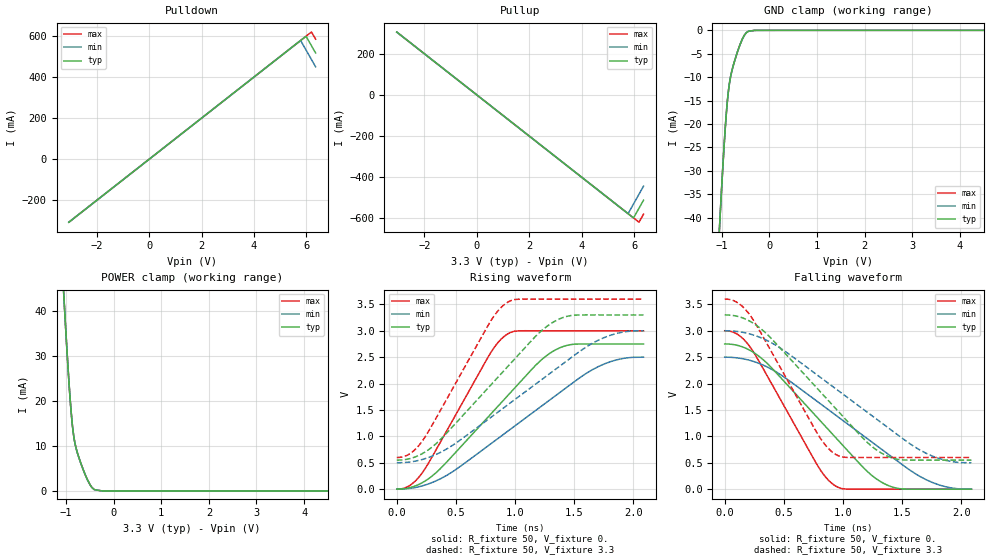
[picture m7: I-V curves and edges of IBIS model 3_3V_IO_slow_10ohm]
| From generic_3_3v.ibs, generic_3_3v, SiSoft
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[Model] 3_3V_IO_slow_10ohm
|SiSoft Include 3_3v.inc
Model_type I/O
|SiSoft Include 3_3v.inc
|C_comp_off 3.002p 2.502p 3.502p
|C_comp_on 3.002p 2.502p 3.502p
C_comp 3.002p 2.502p 3.502p
|SiSoft Rth_i 358.696K 375.001K 346.155K
|SiSoft Rth_r 10. 10. 10.
|SiSoft Rth_f 10. 10. 10.
Vinh = 2
Vinl = 0.8
Cref = 0
Vref = 1.65
Rref = 50
Vmeas = 1.65
|SiSoft spice_param TT Voh 3.3
|SiSoft spice_param SS Voh 3
|SiSoft spice_param FF Voh 3.6
|SiSoft spice_param ALL Vol 0
|SiSoft spice_param ALL R_SERIES 10
|SiSoft spice_param ALL RTERM_IN 1MEG
|SiSoft spice_param TT C_COMP 3pF
|SiSoft spice_param SS C_COMP 3.5pF
|SiSoft spice_param FF C_COMP 2.5pF
|SiSoft spice all testbed.mod tech_io_33
|SiSoft stimulus_rise_time 1.5n 2.0n 1.0n
[Temperature_Range] 25 100 0
[Voltage Range] 3.3 3. 3.6
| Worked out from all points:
|   slope of the pulldown table from 0 to 0.495 V, typ, clamps not added: 10 ohm
|   slope of the pullup table from 0 to 0.495 V, typ, clamps not added: 10 ohm
|   GND clamp passes 1 mA (typ) near -0.52 V on its own axis
|   POWER clamp passes 1 mA (typ) near -0.47 V on its own axis
|   rising waveform, R_fixture 50, V_fixture 0.: 20-80 % time 676ps typ, 901ps min, 451ps max; typ from 0 V to 2.75 V
|   rising waveform, R_fixture 50, V_fixture 3.3: 20-80 % time 676ps typ, 901ps min, 451ps max; typ from 0.55 V to 3.3 V
|   falling waveform, R_fixture 50, V_fixture 0.: 20-80 % time 676ps typ, 901ps min, 451ps max; typ from 2.75 V to 0 V
|   falling waveform, R_fixture 50, V_fixture 3.3: 20-80 % time 676ps typ, 901ps min, 451ps max; typ from 3.3 V to 0.55 V
[Pulldown]
-3.059V   -305.9mA   -305.9mA   -305.9mA
5.771V    577.1mA    577.1mA    577.1mA
5.99V     597.8mA    531mA      599mA
6.189V    553.5mA    486.3mA    618.8mA
6.351V    517.3mA    450mA      584.4mA
[Pullup]
-3.051V   305.1mA    305.1mA    305.1mA
5.76V     -576mA     -576mA     -576mA
5.779V    -577.9mA   -575.4mA   -577.9mA
5.979V    -597.3mA   -530.1mA   -597.9mA
6.188V    -550.6mA   -482.5mA   -618.6mA
6.359V    -511.8mA   -443.6mA   -579.8mA
[GND Clamp]
-3.059V   -488.2mA   -488.2mA   -488.2mA
-1.052V   -42.53mA   -42.53mA   -42.53mA
-1.045V   -41.14mA   -41.14mA   -41.15mA
-980.7mV  -29.29mA   -29.29mA   -29.29mA
-923.7mV  -20.11mA   -20.1mA    -20.1mA
-881mV    -14.75mA   -14.74mA   -14.74mA
-838.3mV  -11.14mA   -11.15mA   -11.15mA
-767.1mV  -7.767mA   -7.767mA   -7.766mA
-624.7mV  -3.221mA   -3.221mA   -3.221mA
-532.2mV  -1.132mA   -1.125mA   -1.128mA
-439.6mV  -186uA     -180.5uA   -189.5uA
6.351V    0A         0A         0A
[Power Clamp]
-3.059V   484.6mA    484.6mA    484.6mA
-1.047V   43.59mA    43.59mA    43.6mA
-1.036V   41.46mA    41.46mA    41.46mA
-969.1mV  29.24mA    29.24mA    29.25mA
-924.6mV  22.01mA    22mA       22mA
-880.1mV  16.07mA    16.07mA    16.06mA
-835.6mV  12mA       12.01mA    12.01mA
-768.9mV  8.733mA    8.733mA    8.735mA
-635.5mV  4.626mA    4.624mA    4.626mA
-491mV    1.293mA    1.287mA    1.296mA
-402mV    284.4uA    276.1uA    278.9uA
6.359V    0A         0A         0A
[Ramp]
dV/dt_r 1.65/675.577p 1.5/900.823p 1.8/450.608p
dV/dt_f 1.65/675.568p 1.5/900.819p 1.8/450.587p
[Rising Waveform]
R_fixture = 50
V_fixture = 0.
0s        16.68uV    16.68uV    16.68uV
120ps     33.63mV    18.09mV    85.29mV
220ps     129mV      65.15mV    324.1mV
430ps     533.3mV    272.1mV    1.137V
800ps     1.436V     868mV      2.607V
940ps     1.778V     1.101V     2.944V
1.2ns     2.404V     1.535V     3V
1.38ns    2.679V     1.835V     3V
1.76ns    2.75V      2.378V     3V
2.085ns   2.75V      2.499V     3V
[Rising Waveform]
R_fixture = 50
V_fixture = 3.3
V_fixture_min = 3.
V_fixture_max = 3.6
0s        550mV      500mV      600mV
120ps     583.6mV    518.1mV    685.3mV
220ps     679mV      565.1mV    924.1mV
430ps     1.083V     772mV      1.737V
800ps     1.986V     1.368V     3.207V
940ps     2.328V     1.601V     3.544V
1.2ns     2.954V     2.035V     3.6V
1.38ns    3.229V     2.335V     3.6V
1.76ns    3.3V       2.878V     3.6V
2.085ns   3.3V       2.999V     3.6V
[Falling Waveform]
R_fixture = 50
V_fixture = 0.
0s        2.75V      2.5V       3V
120ps     2.716V     2.482V     2.915V
220ps     2.621V     2.435V     2.676V
430ps     2.217V     2.228V     1.863V
790ps     1.338V     1.649V     429mV
940ps     971.7mV    1.399V     55.79mV
1.215ns   315.2mV    940.3mV    17.52uV
1.38ns    70.6mV     665.3mV    16.67uV
1.76ns    16.24uV    122.2mV    16.68uV
2.085ns   16.68uV    78.09uV    16.68uV
[Falling Waveform]
R_fixture = 50
V_fixture = 3.3
V_fixture_min = 3.
V_fixture_max = 3.6
0s        3.3V       3V         3.6V
120ps     3.266V     2.982V     3.515V
220ps     3.171V     2.935V     3.276V
430ps     2.767V     2.728V     2.463V
790ps     1.888V     2.149V     1.029V
940ps     1.522V     1.899V     655.8mV
1.215ns   865.2mV    1.44V      600mV
1.38ns    620.6mV    1.165V     600mV
1.76ns    550mV      622.2mV    600mV
2.085ns   550mV      500.1mV    600mV
